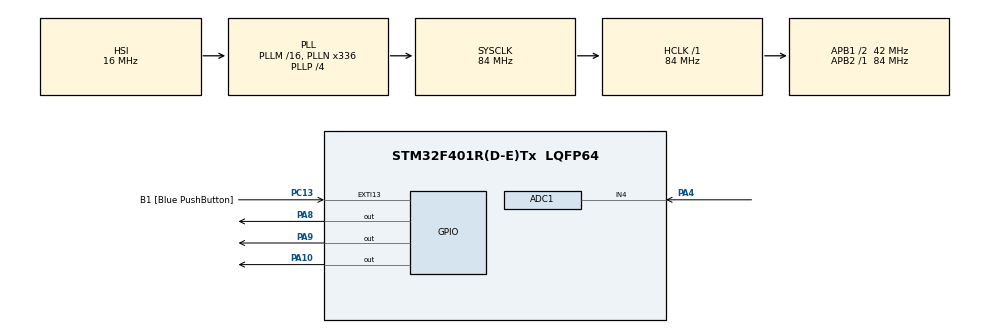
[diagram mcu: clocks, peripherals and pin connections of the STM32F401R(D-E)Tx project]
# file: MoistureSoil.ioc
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ADC1.Channel-1\#ChannelRegularConversion=ADC_CHANNEL_4
ADC1.NbrOfConversionFlag=1
ADC1.Rank-1\#ChannelRegularConversion=1
ADC1.SamplingTime-1\#ChannelRegularConversion=ADC_SAMPLETIME_3CYCLES
ADC1.master=1
Mcu.Family=STM32F4
Mcu.Name=STM32F401R(D-E)Tx
Mcu.Package=LQFP64
NVIC.PriorityGroup=NVIC_PRIORITYGROUP_0
PA10.Signal=GPIO_Output
PA13.GPIO_Label=TMS
PA13.Mode=Serial_Wire
PA13.Signal=SYS_JTMS-SWDIO
PA14.GPIO_Label=TCK
PA14.Mode=Serial_Wire
PA14.Signal=SYS_JTCK-SWCLK
PA2.Signal=USART2_TX
PA3.Signal=USART2_RX
PA4.Signal=ADCx_IN4
PA8.Signal=GPIO_Output
PA9.Signal=GPIO_Output
PB3.GPIO_Label=SWO
PB3.Signal=SYS_JTDO-SWO
PC13-ANTI_TAMP.GPIO_Label=B1 [Blue PushButton]
PC13-ANTI_TAMP.GPIO_ModeDefaultEXTI=GPIO_MODE_IT_FALLING
PC13-ANTI_TAMP.GPIO_PuPd=GPIO_NOPULL
PC13-ANTI_TAMP.Signal=GPXTI13
PC14-OSC32_IN.Mode=LSE-External-Oscillator
PC14-OSC32_IN.Signal=RCC_OSC32_IN
PC15-OSC32_OUT.Mode=LSE-External-Oscillator
PC15-OSC32_OUT.Signal=RCC_OSC32_OUT
PH0\ -\ OSC_IN.Mode=HSE-External-Clock-Source
PH0\ -\ OSC_IN.Signal=RCC_OSC_IN
PH1\ -\ OSC_OUT.Mode=HSE-External-Clock-Source
PH1\ -\ OSC_OUT.Signal=RCC_OSC_OUT
ProjectManager.HeapSize=0x200
ProjectManager.StackSize=0x400
ProjectManager.TargetToolchain=STM32CubeIDE
RCC.48MHZClocksFreq_Value=48000000
RCC.AHBFreq_Value=84000000
RCC.APB1CLKDivider=RCC_HCLK_DIV2
RCC.APB1Freq_Value=42000000
RCC.APB1TimFreq_Value=84000000
RCC.APB2Freq_Value=84000000
RCC.APB2TimFreq_Value=84000000
RCC.CortexFreq_Value=84000000
RCC.HCLKFreq_Value=84000000
RCC.HSE_VALUE=8000000
RCC.HSI_VALUE=16000000
RCC.PLLN=336
RCC.PLLP=RCC_PLLP_DIV4
RCC.PLLQ=7
RCC.SYSCLKFreq_VALUE=84000000
RCC.SYSCLKSource=RCC_SYSCLKSOURCE_PLLCLK
RCC.VCOOutputFreq_Value=336000000
SH.ADCx_IN4.0=ADC1_IN4,IN4
board=NUCLEO-F401RE

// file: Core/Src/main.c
/* USER CODE BEGIN Header */
/**
  ******************************************************************************
  * @file           : main.c
  * @brief          : Main program body
  ******************************************************************************
  * @attention
  *
  * Copyright (c) 2022 STMicroelectronics.
  * All rights reserved.
  *
  * This software is licensed under terms that can be found in the LICENSE file
  * in the root directory of this software component.
  * If no LICENSE file comes with this software, it is provided AS-IS.
  *
  ******************************************************************************
  */
/* USER CODE END Header */
#include "main.h"
#include "stdio.h"

/* USER CODE BEGIN PTD */
double readValue;

/* USER CODE END PTD */

ADC_HandleTypeDef hadc1;

//UART_HandleTypeDef huart2;

void SystemClock_Config(void);
static void MX_GPIO_Init(void);
//static void MX_USART2_UART_Init(void);
static void MX_ADC1_Init(void);

int main(void)
{

  /* MCU Configuration--------------------------------------------------------*/

  /* Reset of all peripherals, Initializes the Flash interface and the Systick. */
  HAL_Init();

  /* Configure the system clock */
  SystemClock_Config();

  /* Initialize all configured peripherals */
  MX_GPIO_Init();
  MX_ADC1_Init();
  /* USER CODE BEGIN 2 */
  HAL_ADC_Start(&hadc1);

  /* USER CODE END 2 */

  /* Infinite loop */
  /* USER CODE BEGIN WHILE */
  while (1)
  {
	  // begin the sensor tracking
	  HAL_ADC_Start(&hadc1);
	  HAL_ADC_PollForConversion(&hadc1,1000);
	  readValue = HAL_ADC_GetValue(&hadc1);
	  HAL_GPIO_WritePin(GPIOA, GPIO_PIN_10, 0);
	  HAL_GPIO_WritePin(GPIOA, GPIO_PIN_9, 0);
	  HAL_GPIO_WritePin(GPIOA, GPIO_PIN_8, 0);

	  // checks to see the readvalue of sensor to allow what light to adjust
	  // shows red
	      if (readValue > 2500)
	      {
	        HAL_GPIO_WritePin(GPIOA, GPIO_PIN_10,0);
	        HAL_GPIO_WritePin(GPIOA, GPIO_PIN_9,0);
	        HAL_GPIO_WritePin(GPIOA, GPIO_PIN_8,1);
	      }

	      // shows yellow
	      else if (readValue > 2000 ){
	    	 HAL_GPIO_WritePin(GPIOA, GPIO_PIN_10,0);
	    	 HAL_GPIO_TogglePin(GPIOA, GPIO_PIN_9);
	    	 HAL_GPIO_WritePin(GPIOA, GPIO_PIN_8,0);
	      }
	      //shows green
	      else{

	    	 HAL_GPIO_WritePin(GPIOA, GPIO_PIN_10,1);
	    	 HAL_GPIO_WritePin(GPIOA, GPIO_PIN_8, 0);
	    	 HAL_GPIO_WritePin(GPIOA, GPIO_PIN_9,0);
	      }

	    /* USER CODE END WHILE */

  }
}

void SystemClock_Config(void)
{
  RCC_OscInitTypeDef RCC_OscInitStruct = {0};
  RCC_ClkInitTypeDef RCC_ClkInitStruct = {0};

  /** Configure the main internal regulator output voltage
  */
  __HAL_RCC_PWR_CLK_ENABLE();
  __HAL_PWR_VOLTAGESCALING_CONFIG(PWR_REGULATOR_VOLTAGE_SCALE2);

  /** Initializes the RCC Oscillators according to the specified parameters
  * in the RCC_OscInitTypeDef structure.
  */
  RCC_OscInitStruct.OscillatorType = RCC_OSCILLATORTYPE_HSI;
  RCC_OscInitStruct.HSIState = RCC_HSI_ON;
  RCC_OscInitStruct.HSICalibrationValue = RCC_HSICALIBRATION_DEFAULT;
  RCC_OscInitStruct.PLL.PLLState = RCC_PLL_ON;
  RCC_OscInitStruct.PLL.PLLSource = RCC_PLLSOURCE_HSI;
  RCC_OscInitStruct.PLL.PLLM = 16;
  RCC_OscInitStruct.PLL.PLLN = 336;
  RCC_OscInitStruct.PLL.PLLP = RCC_PLLP_DIV4;
  RCC_OscInitStruct.PLL.PLLQ = 7;
  if (HAL_RCC_OscConfig(&RCC_OscInitStruct) != HAL_OK)
  {
    Error_Handler();
  }

  /** Initializes the CPU, AHB and APB buses clocks
  */
  RCC_ClkInitStruct.ClockType = RCC_CLOCKTYPE_HCLK|RCC_CLOCKTYPE_SYSCLK
                              |RCC_CLOCKTYPE_PCLK1|RCC_CLOCKTYPE_PCLK2;
  RCC_ClkInitStruct.SYSCLKSource = RCC_SYSCLKSOURCE_PLLCLK;
  RCC_ClkInitStruct.AHBCLKDivider = RCC_SYSCLK_DIV1;
  RCC_ClkInitStruct.APB1CLKDivider = RCC_HCLK_DIV2;
  RCC_ClkInitStruct.APB2CLKDivider = RCC_HCLK_DIV1;

  if (HAL_RCC_ClockConfig(&RCC_ClkInitStruct, FLASH_LATENCY_2) != HAL_OK)
  {
    Error_Handler();
  }
}

static void MX_ADC1_Init(void)
{

  ADC_ChannelConfTypeDef sConfig = {0};

  /** Configure the global features of the ADC (Clock, Resolution, Data Alignment and number of conversion)
  */
  hadc1.Instance = ADC1;
  hadc1.Init.ClockPrescaler = ADC_CLOCK_SYNC_PCLK_DIV4;
  hadc1.Init.Resolution = ADC_RESOLUTION_12B;
  hadc1.Init.ScanConvMode = DISABLE;
  hadc1.Init.ContinuousConvMode = DISABLE;
  hadc1.Init.DiscontinuousConvMode = DISABLE;
  hadc1.Init.ExternalTrigConvEdge = ADC_EXTERNALTRIGCONVEDGE_NONE;
  hadc1.Init.ExternalTrigConv = ADC_SOFTWARE_START;
  hadc1.Init.DataAlign = ADC_DATAALIGN_RIGHT;
  hadc1.Init.NbrOfConversion = 1;
  hadc1.Init.DMAContinuousRequests = DISABLE;
  hadc1.Init.EOCSelection = ADC_EOC_SINGLE_CONV;
  if (HAL_ADC_Init(&hadc1) != HAL_OK)
  {
    Error_Handler();
  }

  /** Configure for the selected ADC regular channel its corresponding rank in the sequencer and its sample time.
  */
  sConfig.Channel = ADC_CHANNEL_4;
  sConfig.Rank = 1;
  sConfig.SamplingTime = ADC_SAMPLETIME_3CYCLES;
  if (HAL_ADC_ConfigChannel(&hadc1, &sConfig) != HAL_OK)
  {
    Error_Handler();
  }

}

static void MX_GPIO_Init(void)
{
  GPIO_InitTypeDef GPIO_InitStruct = {0};

  /* GPIO Ports Clock Enable */
  __HAL_RCC_GPIOC_CLK_ENABLE();
  __HAL_RCC_GPIOH_CLK_ENABLE();
  __HAL_RCC_GPIOA_CLK_ENABLE();
  __HAL_RCC_GPIOB_CLK_ENABLE();

  /*Configure GPIO pin Output Level */
  HAL_GPIO_WritePin(GPIOA, GPIO_PIN_8|GPIO_PIN_9|GPIO_PIN_10, GPIO_PIN_RESET);

  /*Configure GPIO pin : B1_Pin */
  GPIO_InitStruct.Pin = B1_Pin;
  GPIO_InitStruct.Mode = GPIO_MODE_IT_FALLING;
  GPIO_InitStruct.Pull = GPIO_NOPULL;
  HAL_GPIO_Init(B1_GPIO_Port, &GPIO_InitStruct);

  /*Configure GPIO pins : PA2 PA3 */
  GPIO_InitStruct.Pin = GPIO_PIN_2|GPIO_PIN_3;
  GPIO_InitStruct.Mode = GPIO_MODE_AF_PP;
  GPIO_InitStruct.Pull = GPIO_NOPULL;
  GPIO_InitStruct.Speed = GPIO_SPEED_FREQ_VERY_HIGH;
  GPIO_InitStruct.Alternate = GPIO_AF7_USART2;
  HAL_GPIO_Init(GPIOA, &GPIO_InitStruct);

  /*Configure GPIO pins : PA8 PA9 PA10 */
  GPIO_InitStruct.Pin = GPIO_PIN_8|GPIO_PIN_9|GPIO_PIN_10;
  GPIO_InitStruct.Mode = GPIO_MODE_OUTPUT_PP;
  GPIO_InitStruct.Pull = GPIO_NOPULL;
  GPIO_InitStruct.Speed = GPIO_SPEED_FREQ_LOW;
  HAL_GPIO_Init(GPIOA, &GPIO_InitStruct);

}

void Error_Handler(void)
{
  __disable_irq();
  while (1)
  {
  }
}
